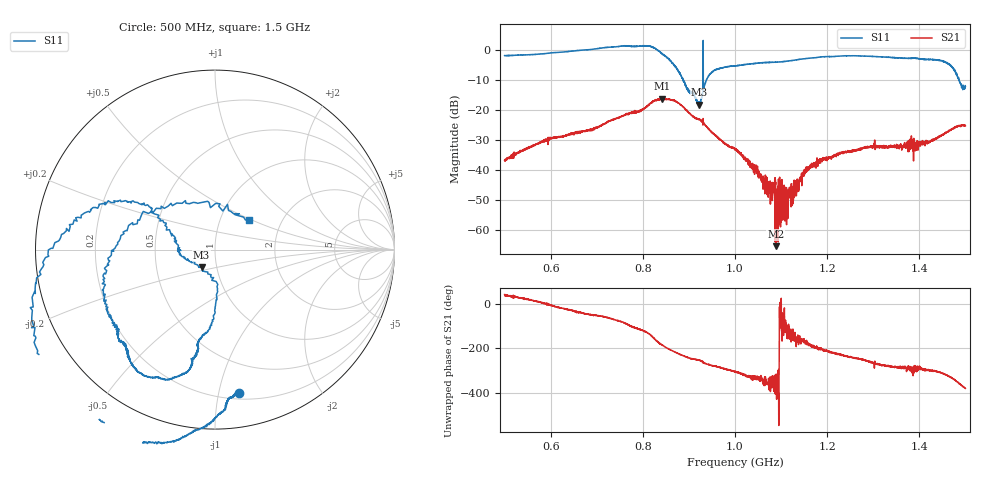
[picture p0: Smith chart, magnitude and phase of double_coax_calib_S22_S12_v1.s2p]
# HZ S RI R 50
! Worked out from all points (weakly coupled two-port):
!   3201 points, 500 MHz to 1.5 GHz, reference 50 ohm
!   highest |S21| = -16.16 dB at 841.2 MHz (marker M1); lowest = -65.2 dB at 1.088 GHz (marker M2)
!   lowest |S11| = -18.1 dB at 921.6 MHz (marker M3), VSWR 1.28, Z = 42.3 - j8.49 ohm
!   |S11| at or under -10 dB: 887.9 MHz to 930.7 MHz (42.78 MHz wide, 4.7 % of centre); 931.2 MHz to 937.8 MHz (6.605 MHz wide, 0.707 % of centre); 1.486 GHz to end of sweep (the widest 3 of 4)
!   S12 and S22 are empty: the file has one direction only
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5e8  0.132 -0.7987  0.011 0.00976  0 0  0 0
6.66875e8  -0.0728 -0.9931  0.0324 -0.0283  0 0  0 0
7.5375e8  -0.4349 -1.076  0.0128 -0.0767  0 0  0 0
7.953125e8  -0.7352 -0.9044  -0.0436 -0.0902  0 0  0 0
8.11875e8  -0.9232 -0.7269  -0.0822 -0.0875  0 0  0 0
8.334375e8  -0.9772 -0.1185  -0.1503 -0.017  0 0  0 0
8.4125e8  -0.8726 0.0476  -0.1551 0.0139  0 0  0 0
8.709375e8  -0.444 0.2676  -0.1111 0.0856  0 0  0 0
9.215625e8  -0.0747 -0.0989  -0.0209 0.0674  0 0  0 0
9.321875e8  0.00943 -0.2409  -0.00532 0.0612  0 0  0 0
9.4875e8  -0.0183 -0.4214  0.00492 0.0429  0 0  0 0
1e9  -0.0945 -0.5355  0.0128 0.018  0 0  0 0
1.088438e9  -0.1302 -0.6183  0.000376 -0.000397  0 0  0 0
1.093125e9  -0.1289 -0.6196  0.00459 -0.00286  0 0  0 0
1.112188e9  -0.1285 -0.6399  -0.00236 -0.00227  0 0  0 0
1.166875e9  -0.2141 -0.7087  -0.0131 0.00112  0 0  0 0
1.231562e9  -0.3632 -0.7088  -0.0132 0.0148  0 0  0 0
1.333438e9  -0.4837 -0.5873  0.00364 0.0238  0 0  0 0
1.423438e9  -0.5663 -0.4083  0.0141 0.0259  0 0  0 0
1.460312e9  -0.6069 -0.0882  0.0335 0.0275  0 0  0 0
1.482188e9  -0.2903 0.2428  0.0527 0.00907  0 0  0 0
1.5e9  0.1869 0.1649  0.0522 -0.0181  0 0  0 0
